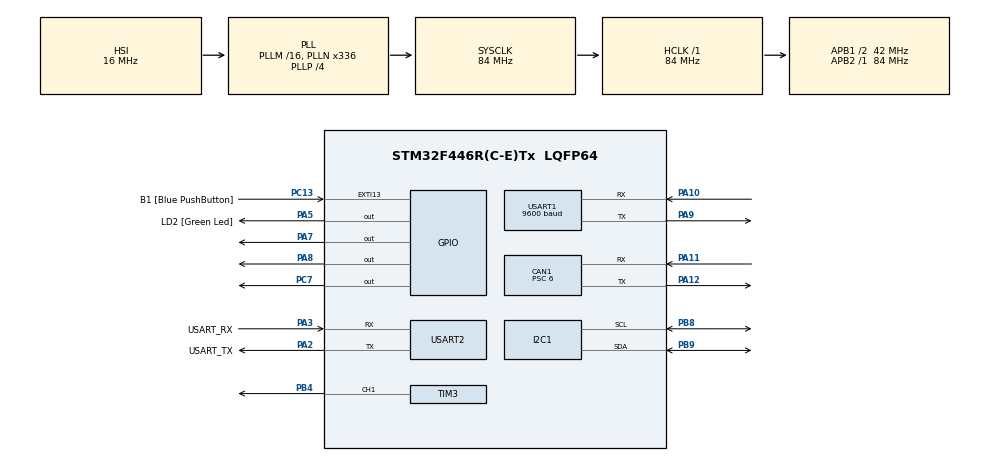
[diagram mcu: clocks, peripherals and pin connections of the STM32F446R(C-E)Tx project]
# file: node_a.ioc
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CAN1.BS1=CAN_BS1_11TQ
CAN1.BS2=CAN_BS2_2TQ
CAN1.CalculateBaudRate=500000
CAN1.CalculateTimeBit=2000
CAN1.CalculateTimeQuantum=142.85714285714286
CAN1.Prescaler=6
Dma.Request0=TIM3_CH1/TRIG
Dma.TIM3_CH1/TRIG.0.Direction=DMA_PERIPH_TO_MEMORY
Dma.TIM3_CH1/TRIG.0.FIFOMode=DMA_FIFOMODE_DISABLE
Dma.TIM3_CH1/TRIG.0.Instance=DMA1_Stream4
Dma.TIM3_CH1/TRIG.0.MemDataAlignment=DMA_MDATAALIGN_WORD
Dma.TIM3_CH1/TRIG.0.MemInc=DMA_MINC_ENABLE
Dma.TIM3_CH1/TRIG.0.Mode=DMA_NORMAL
Dma.TIM3_CH1/TRIG.0.PeriphDataAlignment=DMA_PDATAALIGN_WORD
Dma.TIM3_CH1/TRIG.0.PeriphInc=DMA_PINC_DISABLE
Dma.TIM3_CH1/TRIG.0.Priority=DMA_PRIORITY_LOW
FREERTOS.Tasks01=defaultTask,24,128,StartDefaultTask,Default,NULL,Dynamic,NULL,NULL;SensorTask,40,512,StartSensorTask,Default,NULL,Dynamic,NULL,NULL;CANTxTask,24,256,StartCANTxTask,Default,NULL,Dynamic,NULL,NULL;MQTTTask,8,512,StartMQTTTask,Default,NULL,Dynamic,NULL,NULL;FeedbackTask,24,512,StartFeedbackTask,Default,NULL,Dynamic,NULL,NULL
Mcu.Family=STM32F4
Mcu.Name=STM32F446R(C-E)Tx
Mcu.Package=LQFP64
NVIC.CAN1_RX0_IRQn=true\:5\:0\:false\:false\:true\:true\:true\:true\:true
NVIC.CAN1_TX_IRQn=true\:5\:0\:false\:false\:true\:true\:true\:true\:true
NVIC.DMA1_Stream4_IRQn=true\:5\:0\:false\:false\:true\:true\:false\:true\:true
NVIC.PriorityGroup=NVIC_PRIORITYGROUP_4
NVIC.TIM6_DAC_IRQn=true\:15\:0\:false\:false\:true\:false\:false\:true\:true
NVIC.TimeBase=TIM6_DAC_IRQn
NVIC.TimeBaseIP=TIM6
PA10.Mode=Asynchronous
PA10.Signal=USART1_RX
PA11.Mode=CAN_Activate
PA11.Signal=CAN1_RX
PA12.Mode=CAN_Activate
PA12.Signal=CAN1_TX
PA13.GPIO_Label=TMS
PA13.Mode=Serial_Wire
PA13.Signal=SYS_JTMS-SWDIO
PA14.GPIO_Label=TCK
PA14.Mode=Serial_Wire
PA14.Signal=SYS_JTCK-SWCLK
PA2.GPIO_Label=USART_TX
PA2.Mode=Asynchronous
PA2.Signal=USART2_TX
PA3.GPIO_Label=USART_RX
PA3.Mode=Asynchronous
PA3.Signal=USART2_RX
PA5.GPIO_Label=LD2 [Green Led]
PA5.Signal=GPIO_Output
PA7.Signal=GPIO_Output
PA8.Signal=GPIO_Output
PA9.Mode=Asynchronous
PA9.Signal=USART1_TX
PB3.GPIO_Label=SWO
PB3.Signal=SYS_JTDO-SWO
PB4.Signal=S_TIM3_CH1
PB8.Mode=I2C
PB8.Signal=I2C1_SCL
PB9.Mode=I2C
PB9.Signal=I2C1_SDA
PC13.GPIO_Label=B1 [Blue PushButton]
PC13.GPIO_ModeDefaultEXTI=GPIO_MODE_IT_FALLING
PC13.Signal=GPXTI13
PC14-OSC32_IN.Signal=RCC_OSC32_IN
PC15-OSC32_OUT.Signal=RCC_OSC32_OUT
PC7.Signal=GPIO_Output
PH0-OSC_IN.Signal=RCC_OSC_IN
PH1-OSC_OUT.Signal=RCC_OSC_OUT
ProjectManager.HeapSize=0x200
ProjectManager.StackSize=0x400
ProjectManager.TargetToolchain=STM32CubeIDE
RCC.AHBFreq_Value=84000000
RCC.APB1CLKDivider=RCC_HCLK_DIV2
RCC.APB1Freq_Value=42000000
RCC.APB1TimFreq_Value=84000000
RCC.APB2Freq_Value=84000000
RCC.APB2TimFreq_Value=84000000
RCC.CortexFreq_Value=84000000
RCC.FLatency-AdvancedSettings=FLASH_LATENCY_2
RCC.HCLKFreq_Value=84000000
RCC.HSE_VALUE=8000000
RCC.HSI_VALUE=16000000
RCC.LSE_VALUE=32768
RCC.PLLN=336
RCC.PLLP=RCC_PLLP_DIV4
RCC.SYSCLKFreq_VALUE=84000000
RCC.SYSCLKSource=RCC_SYSCLKSOURCE_PLLCLK
RCC.USBFreq_Value=168000000
RCC.VCOOutputFreq_Value=336000000
SH.S_TIM3_CH1.0=TIM3_CH1,PWM Generation1 CH1
TIM3.Channel-PWM\ Generation1\ CH1=TIM_CHANNEL_1
TIM3.Period=104
USART1.BaudRate=9600
USART1.VirtualMode=VM_ASYNC
USART2.VirtualMode=VM_ASYNC
VP_FREERTOS_VS_CMSIS_V2.Mode=CMSIS_V2
VP_SYS_VS_tim6.Mode=TIM6
board=NUCLEO-F446RE

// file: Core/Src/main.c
/* USER CODE BEGIN Header */
/**
  ******************************************************************************
  * @file           : main.c
  * @brief          : Main program body
  ******************************************************************************
  * @attention
  *
  * Copyright (c) 2026 STMicroelectronics.
  * All rights reserved.
  *
  * This software is licensed under terms that can be found in the LICENSE file
  * in the root directory of this software component.
  * If no LICENSE file comes with this software, it is provided AS-IS.
  *
  ******************************************************************************
  */
/* USER CODE END Header */
#include "main.h"
#include "cmsis_os.h"
#include "can.h"
#include "dma.h"
#include "i2c.h"
#include "tim.h"
#include "usart.h"
#include "gpio.h"

void SystemClock_Config(void);
void MX_FREERTOS_Init(void);

int main(void)
{

  /* MCU Configuration--------------------------------------------------------*/

  /* Reset of all peripherals, Initializes the Flash interface and the Systick. */
  HAL_Init();

  /* Configure the system clock */
  SystemClock_Config();

  /* Initialize all configured peripherals */
  MX_GPIO_Init();
  MX_DMA_Init();
  MX_USART2_UART_Init();
  MX_I2C1_Init();
  MX_TIM3_Init();
  MX_USART1_UART_Init();
  MX_CAN1_Init();
  /* USER CODE BEGIN 2 */
  CAN_FilterTypeDef sFilterConfig;
  sFilterConfig.FilterBank = 0;
  sFilterConfig.FilterMode = CAN_FILTERMODE_IDMASK;
  sFilterConfig.FilterScale = CAN_FILTERSCALE_32BIT;
  sFilterConfig.FilterIdHigh = 0x0000;
  sFilterConfig.FilterIdLow = 0x0000;
  sFilterConfig.FilterMaskIdHigh = 0x0000;
  sFilterConfig.FilterMaskIdLow = 0x0000;
  sFilterConfig.FilterFIFOAssignment = CAN_RX_FIFO0;
  sFilterConfig.FilterActivation = ENABLE;
  HAL_CAN_ConfigFilter(&hcan1, &sFilterConfig);

  HAL_CAN_Start(&hcan1);
  HAL_CAN_ActivateNotification(&hcan1, CAN_IT_RX_FIFO0_MSG_PENDING);
  /* USER CODE END 2 */

  /* Init scheduler */
  osKernelInitialize();  /* Call init function for freertos objects (in cmsis_os2.c) */
  MX_FREERTOS_Init();

  /* Start scheduler */
  osKernelStart();

  /* We should never get here as control is now taken by the scheduler */

  /* Infinite loop */
  while (1)
  {

  }
}

void SystemClock_Config(void)
{
  RCC_OscInitTypeDef RCC_OscInitStruct = {0};
  RCC_ClkInitTypeDef RCC_ClkInitStruct = {0};

  /** Configure the main internal regulator output voltage
  */
  __HAL_RCC_PWR_CLK_ENABLE();
  __HAL_PWR_VOLTAGESCALING_CONFIG(PWR_REGULATOR_VOLTAGE_SCALE3);

  /** Initializes the RCC Oscillators according to the specified parameters
  * in the RCC_OscInitTypeDef structure.
  */
  RCC_OscInitStruct.OscillatorType = RCC_OSCILLATORTYPE_HSI;
  RCC_OscInitStruct.HSIState = RCC_HSI_ON;
  RCC_OscInitStruct.HSICalibrationValue = RCC_HSICALIBRATION_DEFAULT;
  RCC_OscInitStruct.PLL.PLLState = RCC_PLL_ON;
  RCC_OscInitStruct.PLL.PLLSource = RCC_PLLSOURCE_HSI;
  RCC_OscInitStruct.PLL.PLLM = 16;
  RCC_OscInitStruct.PLL.PLLN = 336;
  RCC_OscInitStruct.PLL.PLLP = RCC_PLLP_DIV4;
  RCC_OscInitStruct.PLL.PLLQ = 2;
  RCC_OscInitStruct.PLL.PLLR = 2;
  if (HAL_RCC_OscConfig(&RCC_OscInitStruct) != HAL_OK)
  {
    Error_Handler();
  }

  /** Initializes the CPU, AHB and APB buses clocks
  */
  RCC_ClkInitStruct.ClockType = RCC_CLOCKTYPE_HCLK|RCC_CLOCKTYPE_SYSCLK
                              |RCC_CLOCKTYPE_PCLK1|RCC_CLOCKTYPE_PCLK2;
  RCC_ClkInitStruct.SYSCLKSource = RCC_SYSCLKSOURCE_PLLCLK;
  RCC_ClkInitStruct.AHBCLKDivider = RCC_SYSCLK_DIV1;
  RCC_ClkInitStruct.APB1CLKDivider = RCC_HCLK_DIV2;
  RCC_ClkInitStruct.APB2CLKDivider = RCC_HCLK_DIV1;

  if (HAL_RCC_ClockConfig(&RCC_ClkInitStruct, FLASH_LATENCY_2) != HAL_OK)
  {
    Error_Handler();
  }
}

void HAL_TIM_PeriodElapsedCallback(TIM_HandleTypeDef *htim)
{
  if (htim->Instance == TIM6)
  {
    HAL_IncTick();
  }
}

void Error_Handler(void)
{
  __disable_irq();
  while (1)
  {
  }
}

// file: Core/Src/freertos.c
/* USER CODE BEGIN Header */
/**
  ******************************************************************************
  * File Name          : freertos.c
  * Description        : Code for freertos applications
  ******************************************************************************
  * @attention
  *
  * Copyright (c) 2026 STMicroelectronics.
  * All rights reserved.
  *
  * This software is licensed under terms that can be found in the LICENSE file
  * in the root directory of this software component.
  * If no LICENSE file comes with this software, it is provided AS-IS.
  *
  ******************************************************************************
  */
/* USER CODE END Header */

#include "FreeRTOS.h"
#include "task.h"
#include "main.h"
#include "cmsis_os.h"

/* USER CODE BEGIN Includes */
#include "usart.h"
#include "vl53l0x_api.h"
#include <stdio.h>
#include <string.h>
/* USER CODE END Includes */

/* USER CODE BEGIN Variables */

extern I2C_HandleTypeDef hi2c1;
extern UART_HandleTypeDef huart2;
VL53L0X_RangingMeasurementData_t RangingData;
extern CAN_HandleTypeDef hcan1;
uint8_t congestion_flag = 0;
uint8_t distance_high_count = 0;
uint8_t distance_congestion_flag = 0;
float received_current = 0.0f;

/* USER CODE END Variables */
/* Definitions for defaultTask */
osThreadId_t defaultTaskHandle;
const osThreadAttr_t defaultTask_attributes = {
  .name = "defaultTask",
  .stack_size = 128 * 4,
  .priority = (osPriority_t) osPriorityNormal,
};
/* Definitions for SensorTask */
osThreadId_t SensorTaskHandle;
const osThreadAttr_t SensorTask_attributes = {
  .name = "SensorTask",
  .stack_size = 512 * 4,
  .priority = (osPriority_t) osPriorityHigh,
};
/* Definitions for CANTxTask */
osThreadId_t CANTxTaskHandle;
const osThreadAttr_t CANTxTask_attributes = {
  .name = "CANTxTask",
  .stack_size = 256 * 4,
  .priority = (osPriority_t) osPriorityNormal,
};
/* Definitions for MQTTTask */
osThreadId_t MQTTTaskHandle;
const osThreadAttr_t MQTTTask_attributes = {
  .name = "MQTTTask",
  .stack_size = 512 * 4,
  .priority = (osPriority_t) osPriorityLow,
};
/* Definitions for FeedbackTask */
osThreadId_t FeedbackTaskHandle;
const osThreadAttr_t FeedbackTask_attributes = {
  .name = "FeedbackTask",
  .stack_size = 512 * 4,
  .priority = (osPriority_t) osPriorityNormal,
};

void StartDefaultTask(void *argument);
void StartSensorTask(void *argument);
void StartCANTxTask(void *argument);
void StartMQTTTask(void *argument);
void StartFeedbackTask(void *argument);

void MX_FREERTOS_Init(void); /* (MISRA C 2004 rule 8.1) */

void MX_FREERTOS_Init(void) {

  /* Create the thread(s) */
  /* creation of defaultTask */
  defaultTaskHandle = osThreadNew(StartDefaultTask, NULL, &defaultTask_attributes);

  /* creation of SensorTask */
  SensorTaskHandle = osThreadNew(StartSensorTask, NULL, &SensorTask_attributes);

  /* creation of CANTxTask */
  CANTxTaskHandle = osThreadNew(StartCANTxTask, NULL, &CANTxTask_attributes);

  /* creation of MQTTTask */
  MQTTTaskHandle = osThreadNew(StartMQTTTask, NULL, &MQTTTask_attributes);

  /* creation of FeedbackTask */
  FeedbackTaskHandle = osThreadNew(StartFeedbackTask, NULL, &FeedbackTask_attributes);

}

void StartDefaultTask(void *argument)
{
  for(;;)
  {
    osDelay(1);
  }
}

void StartSensorTask(void *argument)
{
  /* USER CODE BEGIN StartSensorTask */
  char msg[100];
  VL53L0X_Dev_t MyDevice;
  VL53L0X_DEV Dev = &MyDevice;
  uint32_t refSpadCount;
  uint8_t isApertureSpads;
  uint8_t VhvSettings;
  uint8_t PhaseCal;

  Dev->I2cDevAddr = 0x52;

  VL53L0X_DataInit(Dev);
  VL53L0X_StaticInit(Dev);
  VL53L0X_PerformRefCalibration(Dev, &VhvSettings, &PhaseCal);
  VL53L0X_PerformRefSpadManagement(Dev, &refSpadCount, &isApertureSpads);
  VL53L0X_SetDeviceMode(Dev, VL53L0X_DEVICEMODE_SINGLE_RANGING);

  for(;;)
  {
    VL53L0X_PerformSingleRangingMeasurement(Dev, &RangingData);
    sprintf(msg, "Distance: %d mm\r\n", RangingData.RangeMilliMeter);
    HAL_UART_Transmit(&huart2, (uint8_t*)msg, strlen(msg), 100);
    osDelay(200);

    char uart_msg[50];
    sprintf(uart_msg, "%d\n", RangingData.RangeMilliMeter);
    HAL_UART_Transmit(&huart1, (uint8_t*)uart_msg, strlen(uart_msg), 100);

    // CAN으로 거리값 전송
    CAN_TxHeaderTypeDef TxHeader;
    uint8_t TxData[2];
    uint32_t TxMailbox;

    TxHeader.StdId = 0x123;
    TxHeader.RTR = CAN_RTR_DATA;
    TxHeader.IDE = CAN_ID_STD;
    TxHeader.DLC = 2;
    TxHeader.TransmitGlobalTime = DISABLE;

    TxData[0] = (RangingData.RangeMilliMeter >> 8) & 0xFF;
    TxData[1] = RangingData.RangeMilliMeter & 0xFF;

    HAL_CAN_AddTxMessage(&hcan1, &TxHeader, TxData, &TxMailbox);
  }
  /* USER CODE END StartSensorTask */
}

void StartCANTxTask(void *argument)
{
  for(;;)
  {
    osDelay(1);
  }
}

void StartMQTTTask(void *argument)
{
/* USER CODE BEGIN StartMQTTTask */
  osDelay(3000);

  for(;;)
  {
      char uart_msg[100];
      sprintf(uart_msg, "DIST:%d,CONG:%d,CURR:%d,AMP:%d\n",
              RangingData.RangeMilliMeter,
              distance_congestion_flag,
              congestion_flag,
              (int)(received_current * 10));
      HAL_UART_Transmit(&huart1, (uint8_t*)uart_msg, strlen(uart_msg), 100);
      osDelay(1000);
  }
  /* USER CODE END StartMQTTTask */
}
void StartFeedbackTask(void *argument)
{
  /* USER CODE BEGIN StartFeedbackTask */
  for(;;)
  {
    if (RangingData.RangeMilliMeter < 300 && RangingData.RangeMilliMeter > 0) {
      distance_high_count++;
      if (distance_high_count >= 15) {
        distance_congestion_flag = 1;
        // 삐삐삐 소리
        HAL_GPIO_WritePin(GPIOA, GPIO_PIN_7, GPIO_PIN_SET);
        osDelay(100);
        HAL_GPIO_WritePin(GPIOA, GPIO_PIN_7, GPIO_PIN_RESET);
        osDelay(100);
        HAL_GPIO_WritePin(GPIOA, GPIO_PIN_7, GPIO_PIN_SET);
        osDelay(100);
        HAL_GPIO_WritePin(GPIOA, GPIO_PIN_7, GPIO_PIN_RESET);
        osDelay(500);
      }
    } else {
      distance_high_count = 0;
      distance_congestion_flag = 0;
      HAL_GPIO_WritePin(GPIOA, GPIO_PIN_7, GPIO_PIN_RESET);
    }
    osDelay(100);
  }
  /* USER CODE END StartFeedbackTask */
}

/* USER CODE BEGIN Application */
void HAL_CAN_RxFifo0MsgPendingCallback(CAN_HandleTypeDef *hcan)
{
    CAN_RxHeaderTypeDef RxHeader;
    uint8_t RxData[8];
    HAL_CAN_GetRxMessage(hcan, CAN_RX_FIFO0, &RxHeader, RxData);

    if (RxHeader.StdId == 0x456) {
        uint16_t current_int = (RxData[0] << 8) | RxData[1];
        received_current = current_int / 10.0f;

        if (received_current > 150.0f) {
            congestion_flag = 1;
        } else {
            congestion_flag = 0;
        }
    }
}
/* USER CODE END Application */
